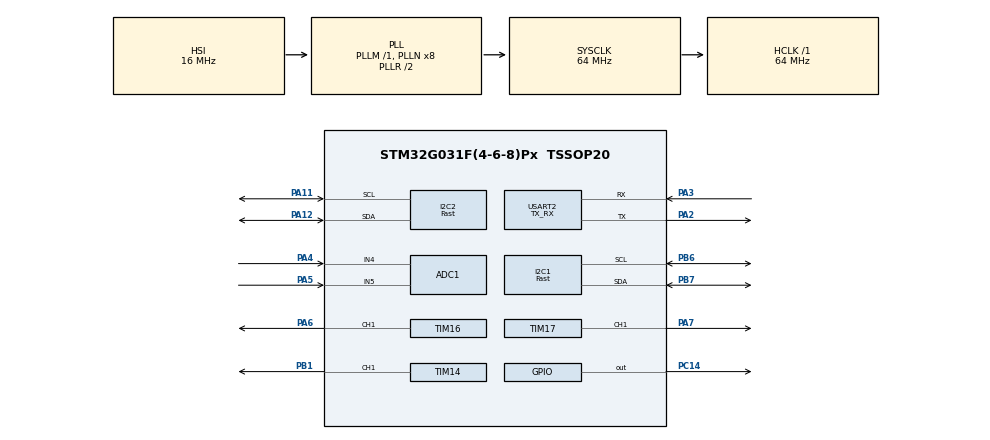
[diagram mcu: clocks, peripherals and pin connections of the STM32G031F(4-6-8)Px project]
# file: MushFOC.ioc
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ADC1.Channel-0\#ChannelRegularConversion=ADC_CHANNEL_4
ADC1.Channel-1\#ChannelRegularConversion=ADC_CHANNEL_5
ADC1.ClockPrescaler=ADC_CLOCK_ASYNC_DIV1
ADC1.ContinuousConvMode=DISABLE
ADC1.DMAContinuousRequests=DISABLE
ADC1.DiscontinuousConvMode=ENABLE
ADC1.EOCSelection=ADC_EOC_SINGLE_CONV
ADC1.NbrOfConversion=2
ADC1.NbrOfConversionFlag=1
ADC1.Overrun=ADC_OVR_DATA_OVERWRITTEN
ADC1.Rank-0\#ChannelRegularConversion=1
ADC1.Rank-1\#ChannelRegularConversion=2
ADC1.SamplingTime-0\#ChannelRegularConversion=ADC_SAMPLINGTIME_COMMON_1
ADC1.SamplingTime-1\#ChannelRegularConversion=ADC_SAMPLINGTIME_COMMON_1
ADC1.SamplingTimeCommon1=ADC_SAMPLETIME_1CYCLE_5
ADC1.SamplingTimeCommon2=ADC_SAMPLETIME_160CYCLES_5
ADC1.SelectedChannel=ADC_CHANNEL_4|ADC_CHANNEL_5
ADC1.master=1
Dma.ADC1.0.Direction=DMA_PERIPH_TO_MEMORY
Dma.ADC1.0.EventEnable=DISABLE
Dma.ADC1.0.Instance=DMA1_Channel3
Dma.ADC1.0.MemDataAlignment=DMA_MDATAALIGN_WORD
Dma.ADC1.0.MemInc=DMA_MINC_ENABLE
Dma.ADC1.0.Mode=DMA_CIRCULAR
Dma.ADC1.0.PeriphDataAlignment=DMA_PDATAALIGN_WORD
Dma.ADC1.0.PeriphInc=DMA_PINC_DISABLE
Dma.ADC1.0.Polarity=HAL_DMAMUX_REQ_GEN_RISING
Dma.ADC1.0.Priority=DMA_PRIORITY_LOW
Dma.ADC1.0.RequestNumber=1
Dma.ADC1.0.SignalID=NONE
Dma.ADC1.0.SyncEnable=DISABLE
Dma.ADC1.0.SyncPolarity=HAL_DMAMUX_SYNC_NO_EVENT
Dma.ADC1.0.SyncRequestNumber=1
Dma.ADC1.0.SyncSignalID=NONE
Dma.Request0=ADC1
Dma.Request1=USART2_TX
Dma.USART2_TX.1.Direction=DMA_MEMORY_TO_PERIPH
Dma.USART2_TX.1.EventEnable=DISABLE
Dma.USART2_TX.1.Instance=DMA1_Channel1
Dma.USART2_TX.1.MemDataAlignment=DMA_MDATAALIGN_BYTE
Dma.USART2_TX.1.MemInc=DMA_MINC_ENABLE
Dma.USART2_TX.1.Mode=DMA_NORMAL
Dma.USART2_TX.1.PeriphDataAlignment=DMA_PDATAALIGN_BYTE
Dma.USART2_TX.1.PeriphInc=DMA_PINC_DISABLE
Dma.USART2_TX.1.Polarity=HAL_DMAMUX_REQ_GEN_RISING
Dma.USART2_TX.1.Priority=DMA_PRIORITY_LOW
Dma.USART2_TX.1.RequestNumber=1
Dma.USART2_TX.1.SignalID=NONE
Dma.USART2_TX.1.SyncEnable=DISABLE
Dma.USART2_TX.1.SyncPolarity=HAL_DMAMUX_SYNC_NO_EVENT
Dma.USART2_TX.1.SyncRequestNumber=1
Dma.USART2_TX.1.SyncSignalID=NONE
FREERTOS.Events01=focEvent,Dynamic,NULL
FREERTOS.HEAP_NUMBER=4
FREERTOS.Queues01=i2cQueue,8,uint32_t,0,Dynamic,NULL,NULL
FREERTOS.Tasks01=focTask,24,192,StartFOCTask,Default,NULL,Dynamic,NULL,NULL;msgTask,8,64,StartMsgTask,Default,NULL,Dynamic,NULL,NULL;watchdogTask,8,64,StartWatchDogTask,Default,NULL,Dynamic,NULL,NULL
FREERTOS.Timers01=ledTimer,LedCallback,osTimerPeriodic,Default,NULL,Dynamic,NULL
FREERTOS.configMINIMAL_STACK_SIZE=64
FREERTOS.configTIMER_QUEUE_LENGTH=4
FREERTOS.configTIMER_TASK_STACK_DEPTH=64
FREERTOS.configTOTAL_HEAP_SIZE=2048
I2C1.I2C_Speed_Mode=I2C_Fast
I2C1.Timing=0x00602173
I2C2.DualAddressMode=I2C_DUALADDRESS_DISABLE
I2C2.GeneralCallMode=I2C_GENERALCALL_DISABLE
I2C2.I2C_Speed_Mode=I2C_Fast
I2C2.OwnAddress=(I2C_SLAVE_ADDR<<1)
I2C2.Timing=0x00602173
LPTIM1.ClockPrescaler=LPTIM_PRESCALER_DIV32
Mcu.Family=STM32G0
Mcu.Name=STM32G031F(4-6-8)Px
Mcu.Package=TSSOP20
Mcu.UserConstants=I2C_SLAVE_ADDR,0x52;I2C_SLAVE_RX_LEN,3;I2C_SLAVE_TX_LEN,3
NVIC.ADC1_IRQn=true\:3\:0\:true\:false\:true\:true\:true\:true\:true
NVIC.DMA1_Channel1_IRQn=true\:3\:0\:true\:false\:true\:true\:false\:true\:true
NVIC.DMA1_Channel2_3_IRQn=true\:3\:0\:true\:false\:true\:true\:false\:true\:true
NVIC.I2C2_IRQn=true\:3\:0\:true\:false\:true\:true\:true\:true\:true
NVIC.LPTIM1_IRQn=true\:3\:0\:false\:false\:true\:true\:true\:true\:true
NVIC.TIM3_IRQn=true\:3\:0\:false\:false\:true\:true\:true\:true\:true
NVIC.USART2_IRQn=true\:3\:0\:false\:false\:true\:true\:false\:true\:true
PA11\ [PA9].GPIO_Pu=GPIO_NOPULL
PA11\ [PA9].Mode=I2C
PA11\ [PA9].Signal=I2C2_SCL
PA12\ [PA10].GPIO_Pu=GPIO_NOPULL
PA12\ [PA10].Mode=I2C
PA12\ [PA10].Signal=I2C2_SDA
PA13.Mode=Serial_Wire
PA13.Signal=SYS_SWDIO
PA14-BOOT0.Mode=Serial_Wire
PA14-BOOT0.Signal=SYS_SWCLK
PA14-BOOT0__PA15.StandardMode=true
PA2.Mode=Asynchronous
PA2.Signal=USART2_TX
PA3.Mode=Asynchronous
PA3.Signal=USART2_RX
PA4.Mode=IN4
PA4.Signal=ADC1_IN4
PA5.Mode=IN5
PA5.Signal=ADC1_IN5
PA6.Signal=S_TIM16_CH1
PA7.Signal=S_TIM17_CH1
PB0__PB1__PB2__PA8.StandardMode=true
PB1.Signal=S_TIM14_CH1
PB3__PB4__PB5__PB6.StandardMode=true
PB6.GPIO_Pu=GPIO_PULLUP
PB6.Mode=I2C
PB6.Signal=I2C1_SCL
PB7.GPIO_Pu=GPIO_PULLUP
PB7.Mode=I2C
PB7.Signal=I2C1_SDA
PB7__PB8.StandardMode=true
PC14-OSC32_IN\ (PC14).GPIO_ModeDefaultOutputPP=GPIO_MODE_OUTPUT_PP
PC14-OSC32_IN\ (PC14).GPIO_PuPd=GPIO_NOPULL
PC14-OSC32_IN\ (PC14).PinState=GPIO_PIN_RESET
PC14-OSC32_IN\ (PC14).Signal=GPIO_Output
PC14-OSC32_IN\ (PC14)__PB9.StandardMode=true
ProjectManager.HeapSize=0x200
ProjectManager.StackSize=0x400
ProjectManager.TargetToolchain=STM32CubeIDE
RCC.ADCFreq_Value=64000000
RCC.AHBFreq_Value=64000000
RCC.CortexFreq_Value=64000000
RCC.EXTERNAL_CLOCK_VALUE=12288000
RCC.HCLKFreq_Value=64000000
RCC.HSE_VALUE=8000000
RCC.HSI_VALUE=16000000
RCC.LPTIM1CLockSelection=RCC_LPTIM1CLKSOURCE_LSI
RCC.LSE_VALUE=32768
RCC.PLLP=RCC_PLLP_DIV4
RCC.SYSCLKFreq_VALUE=64000000
RCC.SYSCLKSource=RCC_SYSCLKSOURCE_PLLCLK
RCC.VCOOutputFreq_Value=128000000
SH.S_TIM14_CH1.0=TIM14_CH1,PWM Generation1 CH1
SH.S_TIM16_CH1.0=TIM16_CH1,PWM Generation1 CH1
SH.S_TIM17_CH1.0=TIM17_CH1,PWM Generation1 CH1
TIM14.AutoReloadPreload=TIM_AUTORELOAD_PRELOAD_ENABLE
TIM14.Channel=TIM_CHANNEL_1
TIM14.Period=999
TIM14.Prescaler=1
TIM16.AutoReloadPreload=TIM_AUTORELOAD_PRELOAD_ENABLE
TIM16.Channel=TIM_CHANNEL_1
TIM16.Period=999
TIM16.Prescaler=1
TIM17.AutoReloadPreload=TIM_AUTORELOAD_PRELOAD_ENABLE
TIM17.Channel=TIM_CHANNEL_1
TIM17.Period=999
TIM17.Prescaler=1
TIM3.Period=4999
TIM3.Prescaler=63
USART2.Mode=MODE_TX_RX
USART2.VirtualMode-Asynchronous=VM_ASYNC
VP_FREERTOS_VS_CMSIS_V2.Mode=CMSIS_V2
VP_LPTIM1_VS_LPTIM_counterModeInternalClock.Mode=Counts__internal_clock_event_00
VP_TIM14_VS_ClockSourceINT.Mode=Enable_Timer
VP_TIM16_VS_ClockSourceINT.Mode=Enable_Timer
VP_TIM17_VS_ClockSourceINT.Mode=Enable_Timer
VP_TIM3_VS_ClockSourceINT.Mode=Internal
board=custom

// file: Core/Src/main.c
/* USER CODE BEGIN Header */
/**
  ******************************************************************************
  * @file           : main.c
  * @brief          : Main program body
  ******************************************************************************
  * @attention
  *
  * Copyright (c) 2024 STMicroelectronics.
  * All rights reserved.
  *
  * This software is licensed under terms that can be found in the LICENSE file
  * in the root directory of this software component.
  * If no LICENSE file comes with this software, it is provided AS-IS.
  *
  ******************************************************************************
  */
/* USER CODE END Header */
#include "main.h"
#include "cmsis_os.h"
#include "adc.h"
#include "dma.h"
#include "i2c.h"
#include "lptim.h"
#include "tim.h"
#include "usart.h"
#include "gpio.h"

void SystemClock_Config(void);
void MX_FREERTOS_Init(void);

int main(void)
{

  /* MCU Configuration--------------------------------------------------------*/

  /* Reset of all peripherals, Initializes the Flash interface and the Systick. */
  HAL_Init();

  /* Configure the system clock */
  SystemClock_Config();

  /* Initialize all configured peripherals */
  MX_GPIO_Init();
  MX_DMA_Init();
  MX_ADC1_Init();
  MX_I2C1_Init();
  MX_I2C2_Init();
  MX_TIM14_Init();
  MX_TIM16_Init();
  MX_TIM17_Init();
  MX_USART2_UART_Init();
  MX_TIM3_Init();
  MX_LPTIM1_Init();
  /* USER CODE BEGIN 2 */

  HAL_I2C_EnableListen_IT(&hi2c2);
  /* USER CODE END 2 */

  /* Init scheduler */
  osKernelInitialize();

  /* Call init function for freertos objects (in cmsis_os2.c) */
  MX_FREERTOS_Init();

  /* Start scheduler */
  osKernelStart();

  /* We should never get here as control is now taken by the scheduler */

  /* Infinite loop */
  while (1)
  {

  }
}

void SystemClock_Config(void)
{
  RCC_OscInitTypeDef RCC_OscInitStruct = {0};
  RCC_ClkInitTypeDef RCC_ClkInitStruct = {0};

  /** Configure the main internal regulator output voltage
  */
  HAL_PWREx_ControlVoltageScaling(PWR_REGULATOR_VOLTAGE_SCALE1);

  /** Initializes the RCC Oscillators according to the specified parameters
  * in the RCC_OscInitTypeDef structure.
  */
  RCC_OscInitStruct.OscillatorType = RCC_OSCILLATORTYPE_HSI|RCC_OSCILLATORTYPE_LSI;
  RCC_OscInitStruct.HSIState = RCC_HSI_ON;
  RCC_OscInitStruct.HSIDiv = RCC_HSI_DIV1;
  RCC_OscInitStruct.HSICalibrationValue = RCC_HSICALIBRATION_DEFAULT;
  RCC_OscInitStruct.LSIState = RCC_LSI_ON;
  RCC_OscInitStruct.PLL.PLLState = RCC_PLL_ON;
  RCC_OscInitStruct.PLL.PLLSource = RCC_PLLSOURCE_HSI;
  RCC_OscInitStruct.PLL.PLLM = RCC_PLLM_DIV1;
  RCC_OscInitStruct.PLL.PLLN = 8;
  RCC_OscInitStruct.PLL.PLLP = RCC_PLLP_DIV4;
  RCC_OscInitStruct.PLL.PLLQ = RCC_PLLQ_DIV2;
  RCC_OscInitStruct.PLL.PLLR = RCC_PLLR_DIV2;
  if (HAL_RCC_OscConfig(&RCC_OscInitStruct) != HAL_OK)
  {
    Error_Handler();
  }

  /** Initializes the CPU, AHB and APB buses clocks
  */
  RCC_ClkInitStruct.ClockType = RCC_CLOCKTYPE_HCLK|RCC_CLOCKTYPE_SYSCLK
                              |RCC_CLOCKTYPE_PCLK1;
  RCC_ClkInitStruct.SYSCLKSource = RCC_SYSCLKSOURCE_PLLCLK;
  RCC_ClkInitStruct.AHBCLKDivider = RCC_SYSCLK_DIV1;
  RCC_ClkInitStruct.APB1CLKDivider = RCC_HCLK_DIV1;

  if (HAL_RCC_ClockConfig(&RCC_ClkInitStruct, FLASH_LATENCY_2) != HAL_OK)
  {
    Error_Handler();
  }
}

void Error_Handler(void)
{
  /* USER CODE BEGIN Error_Handler_Debug */
  /* User can add his own implementation to report the HAL error return state */
  __disable_irq();
  while (1)
  {
	for(int i=0; i<2000000; i++){
		asm volatile("nop");
	}
	HAL_GPIO_TogglePin(LED_PORT, LED_PIN);
  }
  /* USER CODE END Error_Handler_Debug */
}

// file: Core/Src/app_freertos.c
/* USER CODE BEGIN Header */
/**
  ******************************************************************************
  * File Name          : app_freertos.c
  * Description        : Code for freertos applications
  ******************************************************************************
  * @attention
  *
  * Copyright (c) 2024 STMicroelectronics.
  * All rights reserved.
  *
  * This software is licensed under terms that can be found in the LICENSE file
  * in the root directory of this software component.
  * If no LICENSE file comes with this software, it is provided AS-IS.
  *
  ******************************************************************************
  */
/* USER CODE END Header */

#include "FreeRTOS.h"
#include "task.h"
#include "main.h"
#include "cmsis_os.h"

/* USER CODE BEGIN Includes */
#include "adc.h"
#include "i2c.h"
#include "tim.h"
#include "usart.h"
/* USER CODE END Includes */

/* USER CODE BEGIN PD */
#define _PI 3.141592653589793f
#define EVENT(x)			(1<<x)
/* USER CODE END PD */

/* USER CODE BEGIN Variables */
uint8_t i2cRxBuff[I2C_SLAVE_RX_LEN];
uint8_t i2cTxBuff[I2C_SLAVE_TX_LEN];
uint8_t uartTxBuff[32] = {0};

FOC_T foc;
PID_T velocityPID;
PID_T anglePID;
PID_T currentPID;
LOWPASS_FILTER_T currentFilter;
LOWPASS_FILTER_T velocityFilter;

FOC_APP_T foc_app;

/* USER CODE END Variables */
/* Definitions for focTask */
osThreadId_t focTaskHandle;
const osThreadAttr_t focTask_attributes = {
  .name = "focTask",
  .priority = (osPriority_t) osPriorityNormal,
  .stack_size = 192 * 4
};
/* Definitions for msgTask */
osThreadId_t msgTaskHandle;
const osThreadAttr_t msgTask_attributes = {
  .name = "msgTask",
  .priority = (osPriority_t) osPriorityLow,
  .stack_size = 64 * 4
};
/* Definitions for watchdogTask */
osThreadId_t watchdogTaskHandle;
const osThreadAttr_t watchdogTask_attributes = {
  .name = "watchdogTask",
  .priority = (osPriority_t) osPriorityLow,
  .stack_size = 96 * 4
};
/* Definitions for i2cQueue */
osMessageQueueId_t i2cQueueHandle;
const osMessageQueueAttr_t i2cQueue_attributes = {
  .name = "i2cQueue"
};
/* Definitions for ledTimer */
osTimerId_t ledTimerHandle;
const osTimerAttr_t ledTimer_attributes = {
  .name = "ledTimer"
};
/* Definitions for focEvent */
osEventFlagsId_t focEventHandle;
const osEventFlagsAttr_t focEvent_attributes = {
  .name = "focEvent"
};

void StartFOCTask(void *argument);
void StartMsgTask(void *argument);
void StartWatchDogTask(void *argument);
void LedCallback(void *argument);

void MX_FREERTOS_Init(void); /* (MISRA C 2004 rule 8.1) */

void MX_FREERTOS_Init(void) {

  /* Create the timer(s) */
  /* creation of ledTimer */
  ledTimerHandle = osTimerNew(LedCallback, osTimerPeriodic, NULL, &ledTimer_attributes);

  /* USER CODE BEGIN RTOS_TIMERS */
  /* start timers, add new ones, ... */
  osTimerStart(ledTimerHandle, 1000);
  /* USER CODE END RTOS_TIMERS */

  /* Create the queue(s) */
  /* creation of i2cQueue */
  i2cQueueHandle = osMessageQueueNew (8, sizeof(uint32_t), &i2cQueue_attributes);

  /* Create the thread(s) */
  /* creation of focTask */
  focTaskHandle = osThreadNew(StartFOCTask, NULL, &focTask_attributes);

  /* creation of msgTask */
  msgTaskHandle = osThreadNew(StartMsgTask, NULL, &msgTask_attributes);

  /* creation of watchdogTask */
  watchdogTaskHandle = osThreadNew(StartWatchDogTask, NULL, &watchdogTask_attributes);

  /* Create the event(s) */
  /* creation of focEvent */
  focEventHandle = osEventFlagsNew(&focEvent_attributes);

}

void StartFOCTask(void *argument)
{
  /* USER CODE BEGIN StartFOCTask */

  float periodPWM = (1+htim14.Init.Period);
  FOC_APP_Init(&foc_app);
  FOC_Init(&foc, periodPWM, 12.6, -1, 7);
  FOC_SetVoltageLimit(&foc, 12.0f);
  // 初始化 FOC HAL
  FOC_HAL_InitA(&foc,
				&htim14, TIM_CHANNEL_1,
				&htim16, TIM_CHANNEL_1,
				&htim17, TIM_CHANNEL_1,
				&hi2c1,
				&hadc1);

  PID_Init(&velocityPID, 0.01, 0.01, 0, 100000, foc.voltage_power_supply / 2);
  PID_Init(&anglePID, 0.5, 0.01, 0, 100000, 10);
  PID_Init(&currentPID, 0.2, 0.01, 0, 100000, 6);

  LOWPASS_FILTER_Init(&currentFilter, 0.05);
  LOWPASS_FILTER_Init(&velocityFilter, 0.01);

  FOC_AlignmentSensor(&foc);
  //set start angle and disable foc
//  FOC_SetVoltageLimit(&foc, 0.0f);
  // set FOC init done flag
  osEventFlagsSet(focEventHandle, EVENT(FOC_INIT_DONE));
  /* Infinite loop */
  for(;;)
  {
//	Foc_TestAngle(&foc, &anglePID, 0);
//	Foc_TestVelocity(&foc, &velocityFilter, &velocityPID, 10);
//	Foc_TestCurrentVelocity(&foc, &currentFilter, &velocityFilter, &currentPID, &velocityPID, 10);
	Foc_TestCurrentAngle(&foc, &currentFilter, &currentPID, &anglePID, foc_app.target_angle);
//	Foc_TestCurrentVelocityAngle(&foc, &currentFilter, &velocityFilter, &currentPID, &velocityPID, &anglePID, foc_app.target_angle);
	FOC_SensorUpdate(&foc);
    osDelay(10);
  }
  /* USER CODE END StartFOCTask */
}

void StartMsgTask(void *argument)
{
  /* USER CODE BEGIN StartMsgTask */
  /* 读取队列时, 用这个变量来存放数据 */
  uint32_t revValue;
  osStatus_t xReturn = osOK;

  osEventFlagsWait(focEventHandle,         	/* 事件对象句柄 */
		  	  	   EVENT(FOC_INIT_DONE),	/* 接收任务感兴趣的事件 */
				   osFlagsNoClear,          /* 退出时清除事件位，同时满足感兴趣的所有事件 */
				   osWaitForever);          /* 指定超时事件,一直等 */
  /* Infinite loop */
  for(;;)
  {
	 xReturn = osMessageQueueGet(i2cQueueHandle, 	/* 消息队列的句柄 */
							 	 &revValue,			/* 需要接受的消息内容存放地址 */
								 0,                 /* 接收优先级*/
								 100);  			/*永远等待 */
	 if(osOK == xReturn) {
		//接收3字节的写入数据
		//第一个字节：CMD命令(i2cRxBuff[0])
		//第二第三字：数据(((uint16_t)i2cRxBuff[1]<<8) | i2cRxBuff[2];)
		 uint8_t cmd = (revValue>>FOC_CMD_OFFSET)&0xFF;
		 uint16_t data = (revValue)&0xFFFF;
		 switch(cmd){
			case FOC_SET_ON:
				PID_Clear(&velocityPID);
				PID_Clear(&anglePID);
				PID_Clear(&currentPID);
				LOWPASS_FILTER_Clear(&currentFilter);
				LOWPASS_FILTER_Clear(&velocityFilter);
				FOC_SetVoltageLimit(&foc, 12.0f);
				break;
			case FOC_SET_OFF:
				FOC_SetVoltageLimit(&foc, 0.0f);
				break;
			case FOC_SET_ANGLE:
				float target_angle_rad = (data - 180.0f)/180.0f*_PI;
				foc_app.target_angle = target_angle_rad;
				break;
			case FOC_SET_MAX_ZERO_ANGLE:
				foc_app.max_zero_angle = (float)data;
				break;
			case FOC_SET_MIN_ZERO_ANGLE:
				foc_app.min_zero_angle = (float)data;
				break;
			case FOC_SET_MAX_OUTPUT_VELOCITY:
				foc_app.max_output_velocity = (float)data/1000.0f;
				break;
			case FOC_SET_MAX_OUTPUT_CURRENT:
				foc_app.max_output_current = (float)data/1000.0f;
				break;
			case FOC_SET_ACCUMULATED_THRESHOLD_ROATIO:
				foc_app.accumulated_heat_threshold_roatio = (float)data/1000.0f;
				break;
			case FOC_RESTART:
				__HAL_RCC_CLEAR_RESET_FLAGS();
				HAL_Delay(500);
				HAL_NVIC_SystemReset();
				break;
		 }
	 }

    osDelay(1);
  }
  /* USER CODE END StartMsgTask */
}

/* USER CODE BEGIN Header_StartWatchDogTask */
/**
* @brief Function implementing the watchdogTask thread.
*  Used to detect current overload, using the square of the current as the calculation.
*  Currently setting 255mA as the maximum current, so just using uint8_t to story past.
*  In this case, used to determine whether the rotation is blocked from a usage perspective.
* @param argument: Not used
* @retval None
*/
#define	NUM_HISTORYs_RECORD				(32)
#define	ACCUMULATED_MAXIMUM				(NUM_HISTORYs_RECORD*255*255)
/* USER CODE END Header_StartWatchDogTask */
void StartWatchDogTask(void *argument)
{
  /* USER CODE BEGIN StartWatchDogTask */
  uint8_t histroy_pointer = 0;
  uint8_t histroy_current[NUM_HISTORYs_RECORD] = {0};
//  uint8_t histroy_angle[NUM_HISTORYs_RECORD] = {0};
  int accumulated_heat = 0;
  uint32_t abs_current = 0;
  FOC_T* hfoc = &foc;

  osEventFlagsWait(focEventHandle,         	/* 事件对象句柄 */
		  	  	   EVENT(FOC_INIT_DONE),	/* 接收任务感兴趣的事件 */
				   osFlagsNoClear,          /* 退出时清除事件位，同时满足感兴趣的所有事件 */
				   osWaitForever);          /* 指定超时事件,一直等 */
  /* Infinite loop */
  for(;;)
  {
//	float sensor_angle = hfoc->Sensor_GetAngle();
	float Iq = FOC_GetCurrent(hfoc);
	abs_current = (uint32_t)(Iq<0? (Iq*-1000) : (Iq*1000)); ///Absolute value of current(mA)
	uint8_t cur_current = abs_current>255? 255:abs_current;
	accumulated_heat += (cur_current*cur_current);	///Q = current^2 * R
	accumulated_heat -= (histroy_current[histroy_pointer]*histroy_current[histroy_pointer]);
	histroy_current[histroy_pointer] = cur_current;
	if(++histroy_pointer == NUM_HISTORYs_RECORD){
		histroy_pointer = 0;
	}

	uint32_t threshold_current = (uint32_t)(ACCUMULATED_MAXIMUM * foc_app.accumulated_heat_threshold_roatio);
	if(accumulated_heat<0) accumulated_heat=0;
	if(accumulated_heat > threshold_current){
		FOC_Abort(&foc);
		Error_Handler();
	}
    osDelay(100);
  }
  /* USER CODE END StartWatchDogTask */
}

//uint16_t k_data = 180;
/* LedCallback function */
void LedCallback(void *argument)
{
  /* USER CODE BEGIN LedCallback */
  HAL_GPIO_TogglePin(LED_PORT, LED_PIN);
//  k_data += 10;
//  if(k_data>=360) k_data = 180;
//  float target_angle_rad = (k_data - 180.0f)/180.0f*_PI;
//  foc_app.target_angle = target_angle_rad;
  /* USER CODE END LedCallback */
}

/* USER CODE BEGIN Application */

void HAL_I2C_ListenCpltCallback(I2C_HandleTypeDef *hi2c)
{
	HAL_I2C_EnableListen_IT(&hi2c2); // Restart
}

void HAL_I2C_AddrCallback(I2C_HandleTypeDef *hi2c, uint8_t TransferDirection, uint16_t AddrMatchCode)
{
	UNUSED(AddrMatchCode);

	if(TransferDirection == I2C_DIRECTION_TRANSMIT) {
		HAL_I2C_Slave_Sequential_Receive_IT(&hi2c2, &i2cRxBuff[0], I2C_SLAVE_RX_LEN, I2C_LAST_FRAME);
	}
	else {
		HAL_I2C_Slave_Sequential_Transmit_IT(&hi2c2, &i2cTxBuff[0], I2C_SLAVE_TX_LEN, I2C_LAST_FRAME);	}

}
/**
  * @brief  Rx Transfer completed callback.
  * @param  I2cHandle: I2C handle
  * @note   This example shows a simple way to report end of IT Rx transfer, and
  *         you can add your own implementation.
  * @retval None
  */
void HAL_I2C_SlaveTxCpltCallback(I2C_HandleTypeDef *hi2c)
{

}
/**
  * @brief  Tx Transfer completed callback.
  * @param  I2cHandle: I2C handle.
  * @note   This example shows a simple way to report end of DMA Tx transfer, and
  *         you can add your own implementation.
  * @retval None
  */
void HAL_I2C_SlaveRxCpltCallback(I2C_HandleTypeDef *hi2c)
{
//	strcpy(uartTxBuff, "On SlaveRxCpltCallback \n");
//	if (HAL_UART_Transmit(&huart2, (uint8_t *)uartTxBuff, strlen(uartTxBuff), 1000) != HAL_OK) { Error_Handler(); }
//	memcpy(uartTxBuff, i2cRxBuff, 32);
//	if (HAL_UART_Transmit(&huart2, (uint8_t *)uartTxBuff, strlen(uartTxBuff), 1000) != HAL_OK) { Error_Handler(); }
	//接收3字节的写入数据
	//第一个字节：CMD命令(i2cRxBuff[0])
	//第二第三字：数据(((uint16_t)i2cRxBuff[1]<<8) | i2cRxBuff[2];)
	uint8_t cmd = i2cRxBuff[0];
	switch(cmd){
		case FOC_RESTART:
		case FOC_SET_ON:
		case FOC_SET_OFF:
		case FOC_SET_ANGLE:
		case FOC_SET_MAX_OUTPUT_ANGLE:
		case FOC_SET_MAX_ZERO_ANGLE:
		case FOC_SET_MIN_ZERO_ANGLE:
		case FOC_SET_VELOCITY:
		case FOC_SET_MAX_OUTPUT_VELOCITY:
		case FOC_SET_CURRENT:
		case FOC_SET_MAX_OUTPUT_CURRENT:
		case FOC_SET_ACCUMULATED_THRESHOLD_ROATIO:

			uint32_t revData = 	((uint32_t)cmd			<<FOC_CMD_OFFSET) |
								((uint32_t)i2cRxBuff[1]	<<FOC_DATAH_OFFSET) |
								((uint32_t)i2cRxBuff[2]	<<FOC_DATAL_OFFSET);
		    osStatus_t xReturn = osMessageQueuePut(i2cQueueHandle, 	/* 消息队列的句柄*/
		                   	   	   	   	   	   	   &revData,		/* 发送的消息内容 */
												   0,               /* 发送优先级*/
												   0 );        		/* 等待时间 0 */
		    if(osOK != xReturn) { Error_Handler(); }
			break;

		case FOC_GET_MAX_OUTPUT_ANGLE:
		case FOC_GET_MAX_ZERO_ANGLE:
		case FOC_GET_MIN_ZERO_ANGLE:
		case FOC_GET_VELOCITY:
		case FOC_GET_MAX_OUTPUT_VELOCITY:
		case FOC_GET_CURRENT:
		case FOC_GET_MAX_OUTPUT_CURRENT:
		default:
			break;
	}

}

/**
  * @brief  ADC error callback in non blocking mode
  *        (ADC conversion with interruption or transfer by DMA)
  * @param  hadc: ADC handle
  * @retval None
  */
void HAL_ADC_ErrorCallback(ADC_HandleTypeDef *hadc)
{
  /* In case of ADC error, call main error handler */
  Error_Handler();
}
/* USER CODE END Application */
